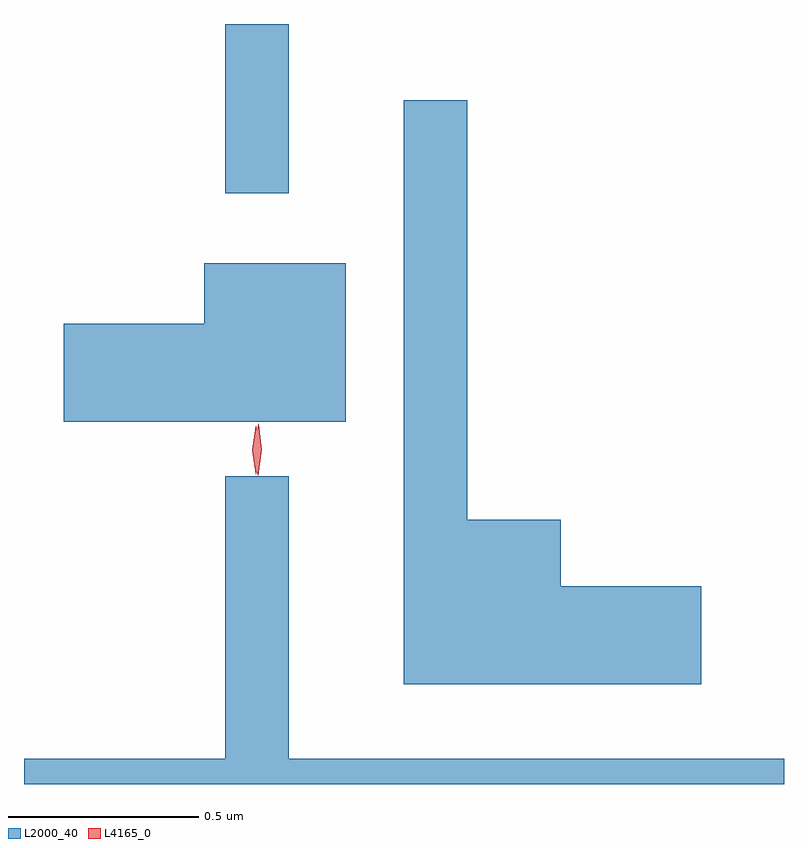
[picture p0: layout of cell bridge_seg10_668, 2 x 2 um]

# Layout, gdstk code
import gdstk
lib = gdstk.Library(unit=1e-6, precision=1e-09)
def R(c, l, rs):  # rectangles x0, y0, x1, y1
    for r in rs: c.add(gdstk.rectangle(r[:2], r[2:], *l))
def P(c, l, *ps):  # polygons
    for p in ps: c.add(gdstk.Polygon(p, *l))
L2000_40 = (2000, 40)
L4165_0 = (4165, 0)

bridge_seg10_668 = lib.new_cell('bridge_seg10_668')
R(bridge_seg10_668, L2000_40, [(691.541,2089.033,691.709,2089.478)])
P(bridge_seg10_668, L2000_40, [(692.794,2087.999),(692.424,2087.999),(692.424,2088.174),(692.179,2088.174),(692.179,2089.278),(692.011,2089.278),(692.011,2087.741),(692.794,2087.741)],
  [(691.859,2088.849),(691.486,2088.849),(691.486,2088.689),(691.116,2088.689),(691.116,2088.431),(691.859,2088.431)],
  [(693.012,2087.544),(691.709,2087.544),(691.709,2088.288),(691.541,2088.288),(691.541,2087.544),(691.012,2087.544),(691.012,2087.478),(693.012,2087.478)])
P(bridge_seg10_668, L4165_0, [(691.627,2088.29),(691.618,2088.358),(691.629,2088.425),(691.629,2088.426),(691.63,2088.425),(691.638,2088.358),(691.628,2088.29),(691.628,2088.29)],
  [(691.622,2088.293),(691.622,2088.294),(691.612,2088.356),(691.622,2088.419),(691.622,2088.42),(691.623,2088.419),(691.632,2088.356),(691.623,2088.294)])

lib.write_gds('bridge_seg10_668.gds')
